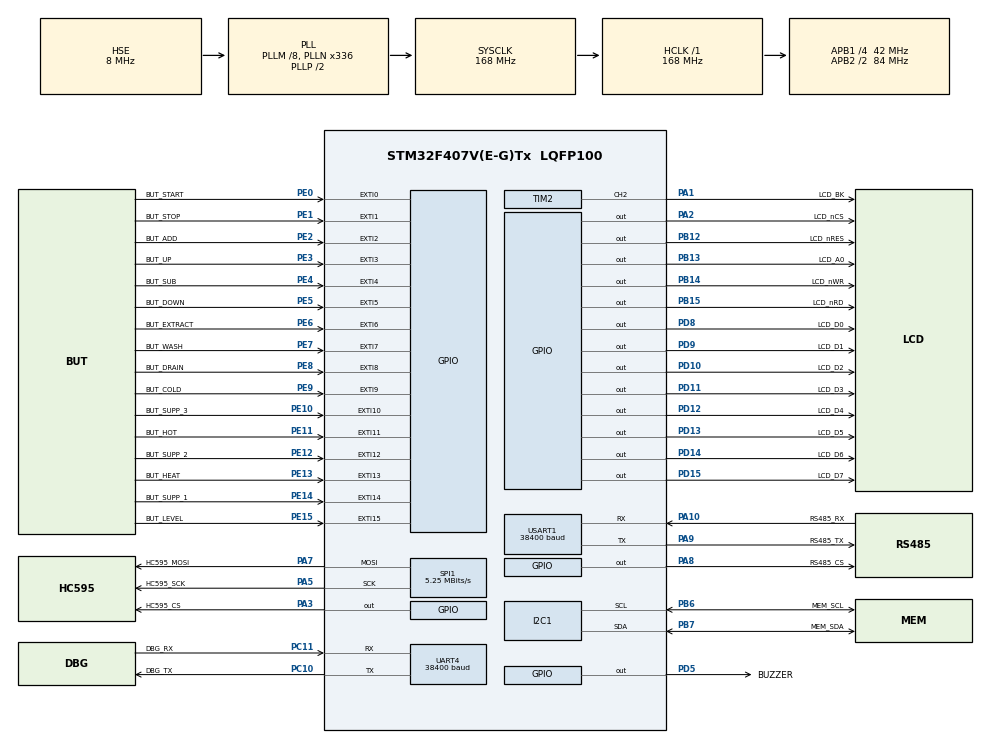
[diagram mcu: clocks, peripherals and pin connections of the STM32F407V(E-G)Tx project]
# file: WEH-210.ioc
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FREERTOS.Events01=systemInitEvent,Dynamic,NULL
FREERTOS.Queues01=ioButtonStateQueue,1,uint32_t,0,Dynamic,NULL,NULL
FREERTOS.Tasks01=menuTask,24,128,startMenuTask,Default,NULL,Dynamic,NULL,NULL;eMBTask,25,256,starteMBTask,Default,NULL,Dynamic,NULL,NULL;lcdTask,24,128,startLcdTask,Default,NULL,Dynamic,NULL,NULL;systemInitTask,40,128,startSystemInitTask,Default,NULL,Dynamic,NULL,NULL;ioTask,24,128,startIoTask,Default,NULL,Dynamic,NULL,NULL;programTask,24,128,startProgramTask,Default,NULL,Dynamic,NULL,NULL;ioExtIrqCbkTask,31,128,startIoExtIrqCbkTask,Default,NULL,Dynamic,NULL,NULL
FREERTOS.Timers01=mainFunctionTimer,mainFunctionTimerHandler,osTimerPeriodic,Default,NULL,Dynamic,NULL
I2C1.I2C_Mode=I2C_Fast
Mcu.Family=STM32F4
Mcu.Name=STM32F407V(E-G)Tx
Mcu.Package=LQFP100
NVIC.EXTI0_IRQn=true\:5\:0\:false\:false\:true\:true\:true\:true\:true
NVIC.EXTI15_10_IRQn=true\:5\:0\:false\:false\:true\:true\:true\:true\:true
NVIC.EXTI1_IRQn=true\:5\:0\:false\:false\:true\:true\:true\:true\:true
NVIC.EXTI2_IRQn=true\:5\:0\:false\:false\:true\:true\:true\:true\:true
NVIC.EXTI3_IRQn=true\:5\:0\:false\:false\:true\:true\:true\:true\:true
NVIC.EXTI4_IRQn=true\:5\:0\:false\:false\:true\:true\:true\:true\:true
NVIC.EXTI9_5_IRQn=true\:5\:0\:false\:false\:true\:true\:true\:true\:true
NVIC.PriorityGroup=NVIC_PRIORITYGROUP_4
NVIC.TIM1_UP_TIM10_IRQn=true\:5\:0\:true\:false\:true\:false\:true\:true\:true
NVIC.TIM6_DAC_IRQn=true\:15\:0\:false\:false\:true\:false\:false\:true\:true
NVIC.TIM7_IRQn=true\:5\:0\:false\:false\:true\:true\:true\:true\:true
NVIC.TimeBase=TIM6_DAC_IRQn
NVIC.TimeBaseIP=TIM6
NVIC.UART4_IRQn=true\:5\:0\:false\:false\:true\:false\:true\:true\:true
NVIC.USART1_IRQn=true\:5\:0\:false\:false\:true\:false\:true\:true\:true
PA1.GPIO_Label=LCD_BK
PA1.Signal=S_TIM2_CH2
PA10.GPIO_Label=RS485_RX
PA10.Mode=Asynchronous
PA10.Signal=USART1_RX
PA13.Mode=Serial_Wire
PA13.Signal=SYS_JTMS-SWDIO
PA14.Mode=Serial_Wire
PA14.Signal=SYS_JTCK-SWCLK
PA2.GPIO_Label=LCD_nCS
PA2.GPIO_Speed=GPIO_SPEED_FREQ_VERY_HIGH
PA2.Signal=GPIO_Output
PA3.GPIO_Label=HC595_CS
PA3.GPIO_Speed=GPIO_SPEED_FREQ_VERY_HIGH
PA3.PinState=GPIO_PIN_SET
PA3.Signal=GPIO_Output
PA5.GPIO_Label=HC595_SCK
PA5.Mode=TX_Only_Simplex_Unidirect_Master
PA5.Signal=SPI1_SCK
PA7.GPIO_Label=HC595_MOSI
PA7.Mode=TX_Only_Simplex_Unidirect_Master
PA7.Signal=SPI1_MOSI
PA8.GPIO_Label=RS485_CS
PA8.GPIO_Speed=GPIO_SPEED_FREQ_VERY_HIGH
PA8.Signal=GPIO_Output
PA9.GPIO_Label=RS485_TX
PA9.Mode=Asynchronous
PA9.Signal=USART1_TX
PB12.GPIO_Label=LCD_nRES
PB12.GPIO_Speed=GPIO_SPEED_FREQ_VERY_HIGH
PB12.Signal=GPIO_Output
PB13.GPIO_Label=LCD_A0
PB13.GPIO_Speed=GPIO_SPEED_FREQ_VERY_HIGH
PB13.Signal=GPIO_Output
PB14.GPIO_Label=LCD_nWR
PB14.GPIO_Speed=GPIO_SPEED_FREQ_VERY_HIGH
PB14.Signal=GPIO_Output
PB15.GPIO_Label=LCD_nRD
PB15.GPIO_Speed=GPIO_SPEED_FREQ_VERY_HIGH
PB15.Signal=GPIO_Output
PB6.GPIO_Label=MEM_SCL
PB6.Mode=I2C
PB6.Signal=I2C1_SCL
PB7.GPIO_Label=MEM_SDA
PB7.Mode=I2C
PB7.Signal=I2C1_SDA
PC10.GPIO_Label=DBG_TX
PC10.Mode=Asynchronous
PC10.Signal=UART4_TX
PC11.GPIO_Label=DBG_RX
PC11.Mode=Asynchronous
PC11.Signal=UART4_RX
PD10.GPIO_Label=LCD_D2
PD10.GPIO_Speed=GPIO_SPEED_FREQ_VERY_HIGH
PD10.Signal=GPIO_Output
PD11.GPIO_Label=LCD_D3
PD11.GPIO_Speed=GPIO_SPEED_FREQ_VERY_HIGH
PD11.Signal=GPIO_Output
PD12.GPIO_Label=LCD_D4
PD12.GPIO_Speed=GPIO_SPEED_FREQ_VERY_HIGH
PD12.Signal=GPIO_Output
PD13.GPIO_Label=LCD_D5
PD13.GPIO_Speed=GPIO_SPEED_FREQ_VERY_HIGH
PD13.Signal=GPIO_Output
PD14.GPIO_Label=LCD_D6
PD14.GPIO_Speed=GPIO_SPEED_FREQ_VERY_HIGH
PD14.Signal=GPIO_Output
PD15.GPIO_Label=LCD_D7
PD15.GPIO_Speed=GPIO_SPEED_FREQ_VERY_HIGH
PD15.Signal=GPIO_Output
PD5.GPIO_Label=BUZZER
PD5.GPIO_Speed=GPIO_SPEED_FREQ_VERY_HIGH
PD5.Signal=GPIO_Output
PD8.GPIO_Label=LCD_D0
PD8.GPIO_Speed=GPIO_SPEED_FREQ_VERY_HIGH
PD8.Signal=GPIO_Output
PD9.GPIO_Label=LCD_D1
PD9.GPIO_Speed=GPIO_SPEED_FREQ_VERY_HIGH
PD9.Signal=GPIO_Output
PE0.GPIO_Label=BUT_START
PE0.GPIO_ModeDefaultEXTI=GPIO_MODE_IT_FALLING
PE0.Signal=GPXTI0
PE1.GPIO_Label=BUT_STOP
PE1.GPIO_ModeDefaultEXTI=GPIO_MODE_IT_FALLING
PE1.Signal=GPXTI1
PE10.GPIO_Label=BUT_SUPP_3
PE10.GPIO_ModeDefaultEXTI=GPIO_MODE_IT_FALLING
PE10.Signal=GPXTI10
PE11.GPIO_Label=BUT_HOT
PE11.GPIO_ModeDefaultEXTI=GPIO_MODE_IT_FALLING
PE11.Signal=GPXTI11
PE12.GPIO_Label=BUT_SUPP_2
PE12.GPIO_ModeDefaultEXTI=GPIO_MODE_IT_FALLING
PE12.Signal=GPXTI12
PE13.GPIO_Label=BUT_HEAT
PE13.GPIO_ModeDefaultEXTI=GPIO_MODE_IT_FALLING
PE13.Signal=GPXTI13
PE14.GPIO_Label=BUT_SUPP_1
PE14.GPIO_ModeDefaultEXTI=GPIO_MODE_IT_FALLING
PE14.Signal=GPXTI14
PE15.GPIO_Label=BUT_LEVEL
PE15.GPIO_ModeDefaultEXTI=GPIO_MODE_IT_FALLING
PE15.Signal=GPXTI15
PE2.GPIO_Label=BUT_ADD
PE2.GPIO_ModeDefaultEXTI=GPIO_MODE_IT_FALLING
PE2.Signal=GPXTI2
PE3.GPIO_Label=BUT_UP
PE3.GPIO_ModeDefaultEXTI=GPIO_MODE_IT_FALLING
PE3.Signal=GPXTI3
PE4.GPIO_Label=BUT_SUB
PE4.GPIO_ModeDefaultEXTI=GPIO_MODE_IT_FALLING
PE4.Signal=GPXTI4
PE5.GPIO_Label=BUT_DOWN
PE5.GPIO_ModeDefaultEXTI=GPIO_MODE_IT_FALLING
PE5.Signal=GPXTI5
PE6.GPIO_Label=BUT_EXTRACT
PE6.GPIO_ModeDefaultEXTI=GPIO_MODE_IT_FALLING
PE6.Signal=GPXTI6
PE7.GPIO_Label=BUT_WASH
PE7.GPIO_ModeDefaultEXTI=GPIO_MODE_IT_FALLING
PE7.Signal=GPXTI7
PE8.GPIO_Label=BUT_DRAIN
PE8.GPIO_ModeDefaultEXTI=GPIO_MODE_IT_FALLING
PE8.Signal=GPXTI8
PE9.GPIO_Label=BUT_COLD
PE9.GPIO_ModeDefaultEXTI=GPIO_MODE_IT_FALLING
PE9.Signal=GPXTI9
PH0-OSC_IN.Mode=HSE-External-Oscillator
PH0-OSC_IN.Signal=RCC_OSC_IN
PH1-OSC_OUT.Mode=HSE-External-Oscillator
PH1-OSC_OUT.Signal=RCC_OSC_OUT
ProjectManager.HeapSize=0x200
ProjectManager.StackSize=0x400
ProjectManager.TargetToolchain=MDK-ARM V5.32
RCC.48MHZClocksFreq_Value=84000000
RCC.AHBFreq_Value=168000000
RCC.APB1CLKDivider=RCC_HCLK_DIV4
RCC.APB1Freq_Value=42000000
RCC.APB1TimFreq_Value=84000000
RCC.APB2CLKDivider=RCC_HCLK_DIV2
RCC.APB2Freq_Value=84000000
RCC.APB2TimFreq_Value=168000000
RCC.CortexFreq_Value=168000000
RCC.HCLKFreq_Value=168000000
RCC.HSE_VALUE=8000000
RCC.HSI_VALUE=16000000
RCC.LSE_VALUE=32768
RCC.PLLM=8
RCC.PLLN=336
RCC.PLLSourceVirtual=RCC_PLLSOURCE_HSE
RCC.SYSCLKFreq_VALUE=168000000
RCC.SYSCLKSource=RCC_SYSCLKSOURCE_PLLCLK
RCC.VCOOutputFreq_Value=336000000
SH.S_TIM2_CH2.0=TIM2_CH2,PWM Generation2 CH2
SPI1.BaudRatePrescaler=SPI_BAUDRATEPRESCALER_16
SPI1.CalculateBaudRate=5.25 MBits/s
SPI1.Direction=SPI_DIRECTION_2LINES
SPI1.Mode=SPI_MODE_MASTER
SPI1.VirtualType=VM_MASTER
TIM10.AutoReloadPreload=TIM_AUTORELOAD_PRELOAD_ENABLE
TIM10.Period=10000-1
TIM10.Prescaler=168-1
TIM2.Channel-PWM\ Generation2\ CH2=TIM_CHANNEL_2
TIM2.Period=100-1
TIM2.Prescaler=420-1
TIM7.Period=0
TIM7.Prescaler=4200-1
UART4.BaudRate=38400
UART4.VirtualMode=Asynchronous
USART1.BaudRate=38400
USART1.VirtualMode=VM_ASYNC
VP_CRC_VS_CRC.Mode=CRC_Activate
VP_FREERTOS_VS_CMSIS_V2.Mode=CMSIS_V2
VP_SYS_VS_tim6.Mode=TIM6
VP_TIM10_VS_ClockSourceINT.Mode=Enable_Timer
VP_TIM2_VS_ClockSourceINT.Mode=Internal
VP_TIM7_VS_ClockSourceINT.Mode=Enable_Timer
board=custom

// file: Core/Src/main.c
/* USER CODE BEGIN Header */
/**
  ******************************************************************************
  * @file           : main.c
  * @brief          : Main program body
  ******************************************************************************
  * @attention
  *
  * Copyright (c) 2022 STMicroelectronics.
  * All rights reserved.
  *
  * This software is licensed under terms that can be found in the LICENSE file
  * in the root directory of this software component.
  * If no LICENSE file comes with this software, it is provided AS-IS.
  *
  ******************************************************************************
  */
/* USER CODE END Header */
#include "main.h"
#include "cmsis_os.h"
#include "crc.h"
#include "i2c.h"
#include "spi.h"
#include "tim.h"
#include "usart.h"
#include "gpio.h"

/* USER CODE BEGIN Includes */
#include "at24c32.h"
#include "st7565r.h"
#include "hc595.h"
/* USER CODE END Includes */

void SystemClock_Config(void);
void MX_FREERTOS_Init(void);

int main(void)
{

  /* MCU Configuration--------------------------------------------------------*/

  /* Reset of all peripherals, Initializes the Flash interface and the Systick. */
  HAL_Init();

  /* Configure the system clock */
  SystemClock_Config();

  /* Initialize all configured peripherals */
  MX_GPIO_Init();
  MX_TIM2_Init();
  MX_TIM7_Init();
  MX_CRC_Init();
  MX_I2C1_Init();
  MX_SPI1_Init();
  MX_UART4_Init();
  MX_USART1_UART_Init();
  MX_TIM10_Init();
  /* USER CODE BEGIN 2 */
  HAL_TIM_PWM_Start(&htim2, TIM_CHANNEL_2);

  AT24C32_Init();
  ST7565R_Init();
  HC595_Init();

  HAL_Delay(500);
  /* USER CODE END 2 */

  /* Init scheduler */
  osKernelInitialize();  /* Call init function for freertos objects (in freertos.c) */
  MX_FREERTOS_Init();

  /* Start scheduler */
  osKernelStart();

  /* We should never get here as control is now taken by the scheduler */
  /* Infinite loop */
  while (1)
  {

  }
}

void SystemClock_Config(void)
{
  RCC_OscInitTypeDef RCC_OscInitStruct = {0};
  RCC_ClkInitTypeDef RCC_ClkInitStruct = {0};

  /** Configure the main internal regulator output voltage
  */
  __HAL_RCC_PWR_CLK_ENABLE();
  __HAL_PWR_VOLTAGESCALING_CONFIG(PWR_REGULATOR_VOLTAGE_SCALE1);

  /** Initializes the RCC Oscillators according to the specified parameters
  * in the RCC_OscInitTypeDef structure.
  */
  RCC_OscInitStruct.OscillatorType = RCC_OSCILLATORTYPE_HSE;
  RCC_OscInitStruct.HSEState = RCC_HSE_ON;
  RCC_OscInitStruct.PLL.PLLState = RCC_PLL_ON;
  RCC_OscInitStruct.PLL.PLLSource = RCC_PLLSOURCE_HSE;
  RCC_OscInitStruct.PLL.PLLM = 8;
  RCC_OscInitStruct.PLL.PLLN = 336;
  RCC_OscInitStruct.PLL.PLLP = RCC_PLLP_DIV2;
  RCC_OscInitStruct.PLL.PLLQ = 4;
  if (HAL_RCC_OscConfig(&RCC_OscInitStruct) != HAL_OK)
  {
    Error_Handler();
  }

  /** Initializes the CPU, AHB and APB buses clocks
  */
  RCC_ClkInitStruct.ClockType = RCC_CLOCKTYPE_HCLK|RCC_CLOCKTYPE_SYSCLK
                              |RCC_CLOCKTYPE_PCLK1|RCC_CLOCKTYPE_PCLK2;
  RCC_ClkInitStruct.SYSCLKSource = RCC_SYSCLKSOURCE_PLLCLK;
  RCC_ClkInitStruct.AHBCLKDivider = RCC_SYSCLK_DIV1;
  RCC_ClkInitStruct.APB1CLKDivider = RCC_HCLK_DIV4;
  RCC_ClkInitStruct.APB2CLKDivider = RCC_HCLK_DIV2;

  if (HAL_RCC_ClockConfig(&RCC_ClkInitStruct, FLASH_LATENCY_5) != HAL_OK)
  {
    Error_Handler();
  }
}

void HAL_TIM_PeriodElapsedCallback(TIM_HandleTypeDef *htim)
{
  if (htim->Instance == TIM6) {
    HAL_IncTick();
  }
}

void Error_Handler(void)
{
  __disable_irq();
  while (1)
  {
  }
}

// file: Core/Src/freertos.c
/* USER CODE BEGIN Header */
/**
  ******************************************************************************
  * File Name          : freertos.c
  * Description        : Code for freertos applications
  ******************************************************************************
  * @attention
  *
  * Copyright (c) 2022 STMicroelectronics.
  * All rights reserved.
  *
  * This software is licensed under terms that can be found in the LICENSE file
  * in the root directory of this software component.
  * If no LICENSE file comes with this software, it is provided AS-IS.
  *
  ******************************************************************************
  */
/* USER CODE END Header */

#include "FreeRTOS.h"
#include "task.h"
#include "main.h"
#include "cmsis_os.h"

/* USER CODE BEGIN Includes */
#include "eMB.h"
#include "lcd.h"

#include "menuManager.h"
#include "programManager.h"
#include "ioManager.h"
/* USER CODE END Includes */

/* USER CODE BEGIN PD */
/* Event flag for modbusEvent */
#define MODBUS_EVENT_READ_COILS                   (uint32_t)(0x01)
#define MODBUS_EVENT_READ_DIS_INPUTS              (uint32_t)(0x02)
#define MODBUS_EVENT_READ_INPUTS                  (uint32_t)(0x04)
#define MODBUS_EVENT_READ_HOLDINGS                (uint32_t)(0x08)

/* Event flag for systemInitEvent */
#define SYSTEM_INIT_EVENT_MCAL_READY              (uint32_t)(0x000F)
#define SYSTEM_INIT_EVENT_LCD_READY               (uint32_t)(0x0010)
#define SYSTEM_INIT_EVENT_MB_READY                (uint32_t)(0x0020)
#define SYSTEM_INIT_EVENT_IO_READY                (uint32_t)(0x0040)
#define SYSTEM_INIT_EVENT_PROG_READY              (uint32_t)(0x0080)
#define SYSTEM_INIT_EVENT_MENU_READY              (uint32_t)(0x0100)

/* USER CODE END PD */

/* USER CODE BEGIN Variables */

uint16_t usModbusUserData[8];
uint16_t usLastModbusUserData[8];
uint8_t  usModbusUserCoil[8];
uint8_t  modbusCmdTaskCount = 0;

extern const eMB_ConfigStruct eMB_WehConfig;

/* USER CODE END Variables */
/* Definitions for menuTask */
osThreadId_t menuTaskHandle;
const osThreadAttr_t menuTask_attributes = {
  .name = "menuTask",
  .stack_size = 128 * 4,
  .priority = (osPriority_t) osPriorityNormal,
};
/* Definitions for eMBTask */
osThreadId_t eMBTaskHandle;
const osThreadAttr_t eMBTask_attributes = {
  .name = "eMBTask",
  .stack_size = 256 * 4,
  .priority = (osPriority_t) osPriorityNormal1,
};
/* Definitions for lcdTask */
osThreadId_t lcdTaskHandle;
const osThreadAttr_t lcdTask_attributes = {
  .name = "lcdTask",
  .stack_size = 128 * 4,
  .priority = (osPriority_t) osPriorityNormal,
};
/* Definitions for systemInitTask */
osThreadId_t systemInitTaskHandle;
const osThreadAttr_t systemInitTask_attributes = {
  .name = "systemInitTask",
  .stack_size = 128 * 4,
  .priority = (osPriority_t) osPriorityHigh,
};
/* Definitions for ioTask */
osThreadId_t ioTaskHandle;
const osThreadAttr_t ioTask_attributes = {
  .name = "ioTask",
  .stack_size = 128 * 4,
  .priority = (osPriority_t) osPriorityNormal,
};
/* Definitions for programTask */
osThreadId_t programTaskHandle;
const osThreadAttr_t programTask_attributes = {
  .name = "programTask",
  .stack_size = 128 * 4,
  .priority = (osPriority_t) osPriorityNormal,
};
/* Definitions for ioExtIrqCbkTask */
osThreadId_t ioExtIrqCbkTaskHandle;
const osThreadAttr_t ioExtIrqCbkTask_attributes = {
  .name = "ioExtIrqCbkTask",
  .stack_size = 128 * 4,
  .priority = (osPriority_t) osPriorityNormal7,
};
/* Definitions for ioButtonStateQueue */
osMessageQueueId_t ioButtonStateQueueHandle;
const osMessageQueueAttr_t ioButtonStateQueue_attributes = {
  .name = "ioButtonStateQueue"
};
/* Definitions for mainFunctionTimer */
osTimerId_t mainFunctionTimerHandle;
const osTimerAttr_t mainFunctionTimer_attributes = {
  .name = "mainFunctionTimer"
};
/* Definitions for systemInitEvent */
osEventFlagsId_t systemInitEventHandle;
const osEventFlagsAttr_t systemInitEvent_attributes = {
  .name = "systemInitEvent"
};

void startMenuTask(void *argument);
void starteMBTask(void *argument);
void startLcdTask(void *argument);
void startSystemInitTask(void *argument);
void startIoTask(void *argument);
void startProgramTask(void *argument);
void startIoExtIrqCbkTask(void *argument);
void mainFunctionTimerHandler(void *argument);

void MX_FREERTOS_Init(void); /* (MISRA C 2004 rule 8.1) */

void MX_FREERTOS_Init(void) {

  /* Create the timer(s) */
  /* creation of mainFunctionTimer */
  mainFunctionTimerHandle = osTimerNew(mainFunctionTimerHandler, osTimerPeriodic, NULL, &mainFunctionTimer_attributes);

  /* Create the queue(s) */
  /* creation of ioButtonStateQueue */
  ioButtonStateQueueHandle = osMessageQueueNew (1, sizeof(uint32_t), &ioButtonStateQueue_attributes);

  /* Create the thread(s) */
  /* creation of menuTask */
  menuTaskHandle = osThreadNew(startMenuTask, NULL, &menuTask_attributes);

  /* creation of eMBTask */
  eMBTaskHandle = osThreadNew(starteMBTask, NULL, &eMBTask_attributes);

  /* creation of lcdTask */
  lcdTaskHandle = osThreadNew(startLcdTask, NULL, &lcdTask_attributes);

  /* creation of systemInitTask */
  systemInitTaskHandle = osThreadNew(startSystemInitTask, NULL, &systemInitTask_attributes);

  /* creation of ioTask */
  ioTaskHandle = osThreadNew(startIoTask, NULL, &ioTask_attributes);

  /* creation of programTask */
  programTaskHandle = osThreadNew(startProgramTask, NULL, &programTask_attributes);

  /* creation of ioExtIrqCbkTask */
  ioExtIrqCbkTaskHandle = osThreadNew(startIoExtIrqCbkTask, NULL, &ioExtIrqCbkTask_attributes);

  /* Create the event(s) */
  /* creation of systemInitEvent */
  systemInitEventHandle = osEventFlagsNew(&systemInitEvent_attributes);

}

void startMenuTask(void *argument)
{
  /* USER CODE BEGIN startMenuTask */

  /* Wait for system initialization done */
  (void)osEventFlagsWait( systemInitEventHandle, \
                          SYSTEM_INIT_EVENT_MCAL_READY, \
                          osFlagsWaitAny | osFlagsNoClear, \
                          osWaitForever);

  (void)osEventFlagsWait( systemInitEventHandle, \
                          SYSTEM_INIT_EVENT_IO_READY, \
                          osFlagsWaitAny | osFlagsNoClear, \
                          osWaitForever);

  (void)osEventFlagsWait( systemInitEventHandle, \
                          SYSTEM_INIT_EVENT_PROG_READY, \
                          osFlagsWaitAny | osFlagsNoClear, \
                          osWaitForever);

  (void)osEventFlagsWait( systemInitEventHandle, \
                          SYSTEM_INIT_EVENT_LCD_READY, \
                          osFlagsWaitAny | osFlagsNoClear, \
                          osWaitForever);

  MenuManager_Init();

  osEventFlagsSet(systemInitEventHandle, SYSTEM_INIT_EVENT_MENU_READY);

  /* Main task loop */
  while (1)
  {
    MenuManager_MainFunction();

    osDelay(5);
  }
  /* USER CODE END startMenuTask */
}

void starteMBTask(void *argument)
{
  /* USER CODE BEGIN starteMBTask */

  /* Wait for system initialization done */
  (void)osEventFlagsWait( systemInitEventHandle, \
                          SYSTEM_INIT_EVENT_MCAL_READY, \
                          osFlagsWaitAny | osFlagsNoClear, \
                          osWaitForever);

  eMB_Init(&eMB_WehConfig);
  eMB_Enable();

  osEventFlagsSet(systemInitEventHandle, SYSTEM_INIT_EVENT_MB_READY);

  /* Main task loop */
  while (1)
  {
    eMB_MainFunction();

    osDelay(5);
  }
  /* USER CODE END starteMBTask */
}

void startLcdTask(void *argument)
{
  /* USER CODE BEGIN startLcdTask */

  /* Wait for system initialization done */
  (void)osEventFlagsWait( systemInitEventHandle, \
                          SYSTEM_INIT_EVENT_MCAL_READY, \
                          osFlagsWaitAny | osFlagsNoClear, \
                          osWaitForever);

  osEventFlagsSet(systemInitEventHandle, SYSTEM_INIT_EVENT_LCD_READY);

  /* Main task loop */
  while (1)
  {
    LCD_FillMain();

    osDelay(10);
  }
  /* USER CODE END startLcdTask */
}

void startSystemInitTask(void *argument)
{
  /* USER CODE BEGIN startSystemInitTask */
  HAL_StatusTypeDef retVal;

  /* Initialize external memory interface */
  retVal = MemIf_Init();

  if (retVal != HAL_OK)
  {
    Error_Handler();
  }

  /* Initialize state machine */
	Fsm_InitPowerOn();

  /* Initialize LCD */
  retVal = LCD_Init();

  if (retVal != HAL_OK)
  {
    Error_Handler();
  }

  LCD_SetContrast(50);

  /* Start main function timer - 20ms period */
  osTimerStart(mainFunctionTimerHandle, (uint32_t)20U);

  /* Set flag to notify to other tasks to start executing */
  osEventFlagsSet(systemInitEventHandle, SYSTEM_INIT_EVENT_MCAL_READY);

  /* Waiting to be terminated */
  osDelay(2000);

  osThreadTerminate(systemInitTaskHandle);
  /* USER CODE END startSystemInitTask */
}

void startIoTask(void *argument)
{
  /* USER CODE BEGIN startIoTask */

  /* Wait for system initialization done */
  (void)osEventFlagsWait( systemInitEventHandle, \
                          SYSTEM_INIT_EVENT_MCAL_READY, \
                          osFlagsWaitAny | osFlagsNoClear, \
                          osWaitForever);

  IoManager_Init();

  osEventFlagsSet(systemInitEventHandle, SYSTEM_INIT_EVENT_IO_READY);

  /* Main task loop */
  while (1)
  {
    IoManager_MainFunction();

    osDelay(5);
  }
  /* USER CODE END startIoTask */
}

void startProgramTask(void *argument)
{
  /* USER CODE BEGIN startProgramTask */

  /* Wait for system initialization done */
  (void)osEventFlagsWait( systemInitEventHandle, \
                          SYSTEM_INIT_EVENT_MCAL_READY, \
                          osFlagsWaitAny | osFlagsNoClear, \
                          osWaitForever);

  ProgramManager_Init();

  (void)osEventFlagsWait( systemInitEventHandle, \
                          SYSTEM_INIT_EVENT_MB_READY, \
                          osFlagsWaitAny | osFlagsNoClear, \
                          osWaitForever);

  osEventFlagsSet(systemInitEventHandle, SYSTEM_INIT_EVENT_PROG_READY);

  /* Main task loop */
  while (1)
  {
    ProgramManager_MainFunction();

    osDelay(5);
  }
  /* USER CODE END startProgramTask */
}

void startIoExtIrqCbkTask(void *argument)
{
  /* USER CODE BEGIN startIoExtIrqCbkTask */

  /* Wait for system initialization done */
  (void)osEventFlagsWait( systemInitEventHandle, \
                          SYSTEM_INIT_EVENT_MCAL_READY, \
                          osFlagsWaitAny | osFlagsNoClear, \
                          osWaitForever);

  (void)osEventFlagsWait( systemInitEventHandle, \
                          SYSTEM_INIT_EVENT_IO_READY, \
                          osFlagsWaitAny | osFlagsNoClear, \
                          osWaitForever);

  /* Main task loop */
  while (1)
  {
    IoManager_ExtIrptMainFunction();
  }
  /* USER CODE END startIoExtIrqCbkTask */
}

/* mainFunctionTimerHandler function */
void mainFunctionTimerHandler(void *argument)
{
  /* USER CODE BEGIN mainFunctionTimerHandler */
  if (MenuManager_SubTickHandler != NULL)
  {
    MenuManager_SubTickHandler();
  }

  if (ProgramManager_SubTickHandler != NULL)
  {
    ProgramManager_SubTickHandler();
  }
  /* USER CODE END mainFunctionTimerHandler */
}
